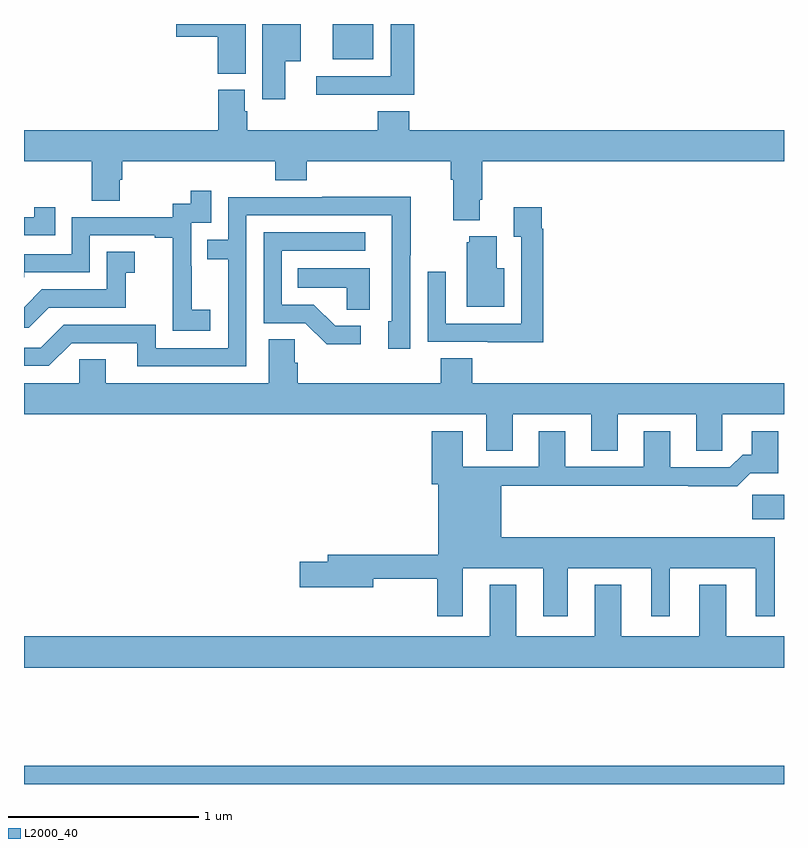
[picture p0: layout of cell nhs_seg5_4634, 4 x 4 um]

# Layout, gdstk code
import gdstk
lib = gdstk.Library(unit=1e-6, precision=1e-09)
def R(c, l, rs):  # rectangles x0, y0, x1, y1
    for r in rs: c.add(gdstk.rectangle(r[:2], r[2:], *l))
def P(c, l, *ps):  # polygons
    for p in ps: c.add(gdstk.Polygon(p, *l))
L2000_40 = (2000, 40)

nhs_seg5_4634 = lib.new_cell('nhs_seg5_4634')
R(nhs_seg5_4634, L2000_40, [(383,870.799,387,870.896), (386.832,872.192,387,872.321), (384.626,874.613,384.838,874.799)])
P(nhs_seg5_4634, L2000_40, [(384.376,874.604),(384.457,874.604),(384.457,874.799),(384.254,874.799),(384.254,874.404),(384.376,874.404)],
  [(385.055,874.799),(384.929,874.799),(384.929,874.524),(384.537,874.524),(384.537,874.427),(385.055,874.427)],
  [(384.166,874.799),(383.802,874.799),(383.802,874.733),(384.02,874.733),(384.02,874.537),(384.166,874.537)],
  [(385.399,873.874),(385.412,873.874),(385.412,874.076),(387,874.076),(387,874.24),(385.028,874.24),(385.028,874.339),(384.863,874.339),(384.863,874.24),(384.176,874.24),(384.176,874.341),(384.163,874.341),(384.163,874.452),(384.023,874.452),(384.023,874.24),(383,874.24),(383,874.076),(383.356,874.076),(383.356,873.868),(383.503,873.868),(383.503,873.978),(383.516,873.978),(383.516,874.076),(384.323,874.076),(384.323,873.977),(384.488,873.977),(384.488,874.076),(385.247,874.076),(385.247,873.98),(385.259,873.98),(385.259,873.767),(385.399,873.767)],
  [(383.98,873.295),(383.882,873.295),(383.882,873.524),(383.88,873.524),(383.88,873.753),(383.985,873.753),(383.985,873.922),(383.877,873.922),(383.877,873.852),(383.784,873.852),(383.784,873.783),(383.25,873.783),(383.25,873.588),(383,873.588),(383,873.465),(383.001,873.465),(383.001,873.492),(383.346,873.492),(383.346,873.687),(383.687,873.687),(383.687,873.675),(383.783,873.675),(383.783,873.391),(383.782,873.391),(383.782,873.185),(383.98,873.185)],
  [(384.171,873.792),(384.936,873.792),(384.936,873.234),(384.917,873.234),(384.917,873.09),(385.032,873.09),(385.032,873.583),(385.035,873.583),(385.035,873.89),(384.571,873.89),(384.571,873.888),(384.075,873.888),(384.075,873.663),(383.965,873.663),(383.965,873.562),(384.075,873.562),(384.075,873.093),(383.694,873.093),(383.694,873.216),(383.208,873.216),(383.088,873.096),(383,873.096),(383,873),(383.13,873),(383.25,873.12),(383.597,873.12),(383.597,872.997),(384.171,872.997)],
  [(383.165,873.835),(383.054,873.835),(383.054,873.783),(383,873.783),(383,873.687),(383.165,873.687)],
  [(385.733,873.722),(385.726,873.722),(385.726,873.835),(385.577,873.835),(385.577,873.679),(385.617,873.679),(385.617,873.222),(385.221,873.222),(385.221,873.496),(385.125,873.496),(385.125,873.126),(385.441,873.126),(385.441,873.125),(385.733,873.125)],
  [(384.772,873.21),(384.637,873.21),(384.526,873.321),(384.357,873.321),(384.357,873.606),(384.796,873.606),(384.796,873.702),(384.261,873.702),(384.261,873.225),(384.48,873.225),(384.593,873.113),(384.772,873.113)],
  [(385.528,873.514),(385.489,873.514),(385.489,873.682),(385.343,873.682),(385.343,873.651),(385.331,873.651),(385.331,873.311),(385.528,873.311)],
  [(383.131,873.306),(383.535,873.306),(383.535,873.491),(383.584,873.491),(383.584,873.601),(383.436,873.601),(383.436,873.402),(383.094,873.402),(383,873.308),(383,873.201),(383.026,873.201)],
  [(384.82,873.514),(384.442,873.514),(384.442,873.41),(384.699,873.41),(384.699,873.295),(384.82,873.295)],
  [(385.573,872.744),(385.985,872.744),(385.985,872.554),(386.125,872.554),(386.125,872.744),(386.537,872.744),(386.537,872.554),(386.676,872.554),(386.676,872.744),(387,872.744),(387,872.908),(385.358,872.908),(385.358,873.041),(385.193,873.041),(385.193,872.908),(384.44,872.908),(384.44,873.017),(384.426,873.017),(384.426,873.14),(384.287,873.14),(384.287,872.908),(383.431,872.908),(383.431,873.035),(383.292,873.035),(383.292,872.908),(383,872.908),(383,872.744),(385.433,872.744),(385.433,872.554),(385.573,872.554)],
  [(385.309,871.934),(385.733,871.934),(385.733,871.683),(385.861,871.683),(385.861,871.934),(386.3,871.934),(386.3,871.683),(386.398,871.683),(386.398,871.934),(386.852,871.934),(386.852,871.683),(386.95,871.683),(386.95,872.098),(385.513,872.098),(385.513,872.368),(386.497,872.368),(386.497,872.366),(386.753,872.366),(386.822,872.435),(386.971,872.435),(386.971,872.656),(386.831,872.656),(386.831,872.533),(386.782,872.533),(386.715,872.466),(386.401,872.466),(386.401,872.656),(386.261,872.656),(386.261,872.469),(385.849,872.469),(385.849,872.656),(385.709,872.656),(385.709,872.469),(385.309,872.469),(385.309,872.656),(385.145,872.656),(385.145,872.376),(385.181,872.376),(385.181,872.006),(384.599,872.006),(384.599,871.97),(384.45,871.97),(384.45,871.835),(384.838,871.835),(384.838,871.878),(385.174,871.878),(385.174,871.683),(385.309,871.683)],
  [(387,871.576),(386.695,871.576),(386.695,871.849),(386.555,871.849),(386.555,871.576),(386.143,871.576),(386.143,871.849),(386.003,871.849),(386.003,871.576),(385.591,871.576),(385.591,871.849),(385.451,871.849),(385.451,871.576),(383,871.576),(383,871.412),(387,871.412)])

lib.write_gds('nhs_seg5_4634.gds')
